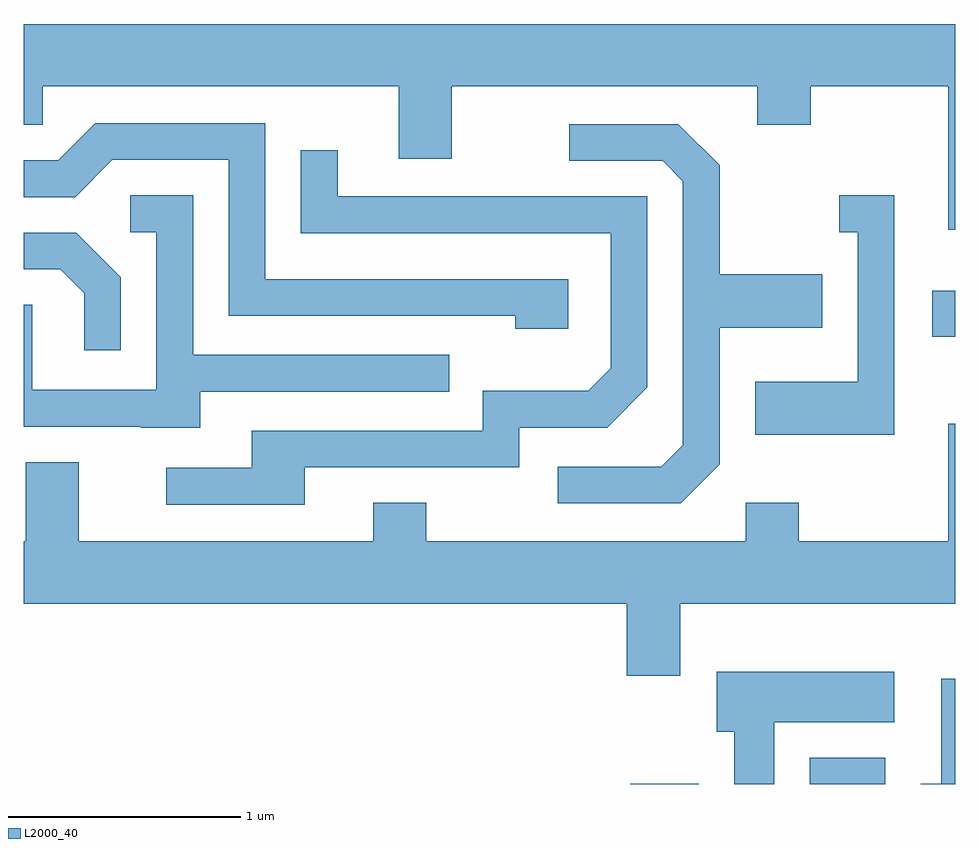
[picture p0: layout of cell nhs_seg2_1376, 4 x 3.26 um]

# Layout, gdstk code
import gdstk
lib = gdstk.Library(unit=1e-6, precision=1e-09)
def R(c, l, rs):  # rectangles x0, y0, x1, y1
    for r in rs: c.add(gdstk.rectangle(r[:2], r[2:], *l))
def P(c, l, *ps):  # polygons
    for p in ps: c.add(gdstk.Polygon(p, *l))
L2000_40 = (2000, 40)

nhs_seg2_1376 = lib.new_cell('nhs_seg2_1376')
R(nhs_seg2_1376, L2000_40, [(228.216,1009.802,228.509,1009.804), (228.986,1009.802,229.309,1009.914), (229.511,1011.721,229.611,1011.919)])
P(nhs_seg2_1376, L2000_40, [(229.611,1013.064),(225.611,1013.064),(225.611,1012.631),(225.694,1012.631),(225.694,1012.796),(227.221,1012.796),(227.221,1012.486),(227.449,1012.486),(227.449,1012.796),(228.761,1012.796),(228.761,1012.631),(228.989,1012.631),(228.989,1012.796),(229.581,1012.796),(229.581,1012.181),(229.611,1012.181)],
  [(227.949,1011.969),(226.649,1011.969),(226.649,1012.639),(225.919,1012.639),(225.759,1012.479),(225.611,1012.479),(225.611,1012.321),(225.832,1012.321),(225.992,1012.481),(226.491,1012.481),(226.491,1011.811),(227.721,1011.811),(227.721,1011.756),(227.949,1011.756)],
  [(228.599,1011.174),(228.599,1011.761),(229.039,1011.761),(229.039,1011.989),(228.599,1011.989),(228.599,1012.457),(228.422,1012.634),(227.953,1012.634),(227.953,1012.476),(228.354,1012.476),(228.441,1012.389),(228.441,1011.257),(228.349,1011.164),(227.903,1011.164),(227.903,1011.006),(228.432,1011.006)],
  [(226.819,1011.161),(227.739,1011.161),(227.739,1011.331),(228.117,1011.331),(228.289,1011.504),(228.289,1012.324),(226.959,1012.324),(226.959,1012.523),(226.801,1012.523),(226.801,1012.166),(228.131,1012.166),(228.131,1011.587),(228.034,1011.489),(227.581,1011.489),(227.581,1011.319),(226.591,1011.319),(226.591,1011.159),(226.223,1011.159),(226.223,1011.001),(226.819,1011.001)],
  [(226.369,1011.486),(227.438,1011.486),(227.438,1011.644),(226.339,1011.644),(226.339,1012.329),(226.068,1012.329),(226.068,1012.171),(226.181,1012.171),(226.181,1011.494),(225.649,1011.494),(225.649,1011.859),(225.611,1011.859),(225.611,1011.336),(226.115,1011.336),(226.115,1011.331),(226.369,1011.331)],
  [(229.349,1012.329),(229.113,1012.329),(229.113,1012.171),(229.191,1012.171),(229.191,1011.529),(228.751,1011.529),(228.751,1011.301),(229.349,1011.301)],
  [(226.029,1011.977),(225.837,1012.169),(225.611,1012.169),(225.611,1012.011),(225.769,1012.011),(225.871,1011.909),(225.871,1011.663),(226.029,1011.663)],
  [(228.429,1010.576),(229.611,1010.576),(229.611,1011.349),(229.581,1011.349),(229.581,1010.844),(228.939,1010.844),(228.939,1011.009),(228.711,1011.009),(228.711,1010.844),(227.339,1010.844),(227.339,1011.009),(227.111,1011.009),(227.111,1010.844),(225.849,1010.844),(225.849,1011.184),(225.621,1011.184),(225.621,1010.844),(225.611,1010.844),(225.611,1010.576),(228.201,1010.576),(228.201,1010.266),(228.429,1010.266)],
  [(228.834,1010.066),(229.349,1010.066),(229.349,1010.284),(228.586,1010.284),(228.586,1010.026),(228.661,1010.026),(228.661,1009.802),(228.834,1009.802)],
  [(229.611,1010.254),(229.551,1010.254),(229.551,1009.804),(229.461,1009.804),(229.461,1009.802),(229.611,1009.802)])

lib.write_gds('nhs_seg2_1376.gds')
